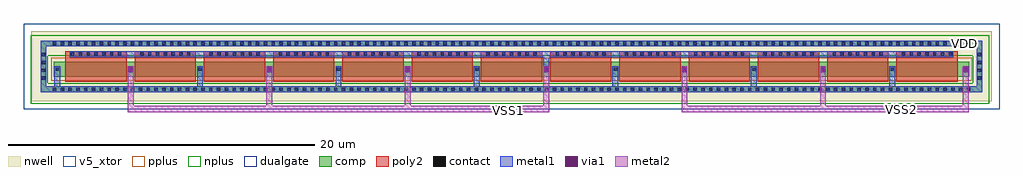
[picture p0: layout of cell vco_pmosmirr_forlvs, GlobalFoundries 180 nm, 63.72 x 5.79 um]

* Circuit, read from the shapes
.subckt vco_pmosmirr_forlvs VDD VSS1 VSS2
XM1 VSS1 VSS1 VDD VDD pfet_05v0 w=1u l=4u m=8
XM2 VSS2 VSS1 VDD VDD pfet_05v0 w=1u l=4u m=5
.ends

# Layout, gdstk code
from math import pi, radians
import gdstk
lib = gdstk.Library(unit=1e-6, precision=5e-09)
def R(c, l, rs):  # rectangles x0, y0, x1, y1
    for r in rs: c.add(gdstk.rectangle(r[:2], r[2:], *l))
def A(c, l, x, y, w, h, nx, ny, dx, dy):  # array of equal rectangles
    R(c, l, [(x+i*dx, y+j*dy, x+i*dx+w, y+j*dy+h) for i in range(nx) for j in range(ny)])
def P(c, l, *ps):  # polygons
    for p in ps: c.add(gdstk.Polygon(p, *l))
nwell = (21, 0)
comp = (22, 0)
poly2 = (30, 0)
pplus = (31, 0)
nplus = (32, 0)
contact = (33, 0)
metal1 = (34, 0)
via1 = (35, 0)
metal2 = (36, 0)
dualgate = (55, 0)
v5_xtor = (112, 1)

pfet = lib.new_cell('pfet')

pfet_2 = lib.new_cell('pfet$2')
R(pfet_2, nwell, [(-1.93,-1.6,60.79,2.98)])
R(pfet_2, comp, [(-0.46,0,0,1), (0,0,58.86,1), (58.86,0,59.32,1)])
P(pfet_2, comp, [(-1.32,-0.99),(-1.32,1.99),(-0.94,1.99),(-0.94,-0.61),(59.8,-0.61),(59.8,1.99),(-1.32,1.99),(-1.32,2.37),(60.18,2.37),(60.18,-0.99)])
A(pfet_2, poly2, 0.31, -0.3, 4, 1.6, 13, 1, 4.52, 0)
A(pfet_2, poly2, 0.31, 1.3, 4, 0.38, 13, 1, 4.52, 0)
R(pfet_2, pplus, [(-0.63,-0.24,59.49,1.24)])
A(pfet_2, contact, -0.515, -0.91, 0.22, 0.22, 118, 2, 0.51, 2.98)
A(pfet_2, contact, -1.24, -0.185, 0.22, 0.22, 1, 4, 0, 0.51)
A(pfet_2, contact, 59.88, -0.185, 0.22, 0.22, 1, 4, 0, 0.51)
A(pfet_2, contact, 4.46, 0.39, 0.22, 0.22, 12, 1, 4.52, 0)
A(pfet_2, contact, 0.67, 1.38, 0.22, 0.22, 7, 1, 0.51, 0)
A(pfet_2, contact, 5.19, 1.38, 0.22, 0.22, 7, 1, 0.51, 0)
A(pfet_2, contact, 9.71, 1.38, 0.22, 0.22, 7, 1, 0.51, 0)
A(pfet_2, contact, 14.23, 1.38, 0.22, 0.22, 7, 1, 0.51, 0)
A(pfet_2, contact, 18.75, 1.38, 0.22, 0.22, 7, 1, 0.51, 0)
A(pfet_2, contact, 23.27, 1.38, 0.22, 0.22, 7, 1, 0.51, 0)
A(pfet_2, contact, 27.79, 1.38, 0.22, 0.22, 7, 1, 0.51, 0)
A(pfet_2, contact, 32.31, 1.38, 0.22, 0.22, 7, 1, 0.51, 0)
A(pfet_2, contact, 36.83, 1.38, 0.22, 0.22, 7, 1, 0.51, 0)
A(pfet_2, contact, 41.35, 1.38, 0.22, 0.22, 7, 1, 0.51, 0)
A(pfet_2, contact, 45.87, 1.38, 0.22, 0.22, 7, 1, 0.51, 0)
A(pfet_2, contact, 50.39, 1.38, 0.22, 0.22, 7, 1, 0.51, 0)
A(pfet_2, contact, 54.91, 1.38, 0.22, 0.22, 7, 1, 0.51, 0)
R(pfet_2, contact, [(-0.34,0.39,-0.12,0.61), (58.98,0.39,59.2,0.61)])
A(pfet_2, metal1, 4.38, 0.31, 0.38, 0.38, 12, 1, 4.52, 0)
A(pfet_2, metal1, 0.59, 1.3, 3.44, 0.38, 13, 1, 4.52, 0)
R(pfet_2, metal1, [(-0.42,0.31,-0.04,0.69), (58.9,0.31,59.28,0.69)])
R(pfet_2, dualgate, [(-2.43,-2.1,61.29,3.48), (-1.57,-1.24,60.43,2.62)])
R(pfet_2, v5_xtor, [(-2.43,-2.1,61.29,3.48), (-1.57,-1.24,60.43,2.62)])

vco_pmosmirr_forlvs = lib.new_cell('vco_pmosmirr_forlvs')
R(vco_pmosmirr_forlvs, nplus, [(-5.39,-2.15,57.2,-0.795), (-5.39,-2.1,-4.29,2.335), (56.1,-2.1,57.2,2.335), (-5.39,0.98,57.2,2.335)])
A(vco_pmosmirr_forlvs, metal1, 5.465, -1.005, 0.38, 0.92, 6, 1, 9.04, 0)
R(vco_pmosmirr_forlvs, metal1, [(-4.755,-1.385,56.745,-1.005), (-4.755,-1.005,-4.375,1.595), (-3.855,-1.005,-3.475,-0.085), (56.365,-1.005,56.745,1.595), (28.065,0.295,28.445,0.905), (-2.845,0.905,54.835,1.285), (-4.755,1.595,56.745,1.975)])
A(vco_pmosmirr_forlvs, via1, 1.005, -0.025, 0.26, 0.26, 6, 1, 9.04, 0)
R(vco_pmosmirr_forlvs, via1, [(55.525,-0.025,55.785,0.235)])
A(vco_pmosmirr_forlvs, metal2, 0.945, -2.705, 0.38, 3, 6, 1, 9.04, 0)
R(vco_pmosmirr_forlvs, metal2, [(1.325,-2.705,28.445,-2.29), (37.105,-2.705,55.845,-2.29), (55.465,-2.705,55.845,0.295)])
vco_pmosmirr_forlvs.add(gdstk.Reference(pfet, (52.52,0.065), rotation=pi, x_reflection=True))
vco_pmosmirr_forlvs.add(gdstk.Reference(pfet, (55.445,0.13), rotation=pi, x_reflection=True))
vco_pmosmirr_forlvs.add(gdstk.Reference(pfet_2, (55.425,-0.395), rotation=pi, x_reflection=True))
vco_pmosmirr_forlvs.add(gdstk.Reference(pfet, (54.975,-2.405), rotation=pi, x_reflection=True))
vco_pmosmirr_forlvs.add(gdstk.Label('VDD', (55.57,1.77), layer=34, texttype=0))
vco_pmosmirr_forlvs.add(gdstk.Label('VSS1', (25.78,-2.575), layer=36, texttype=0))
vco_pmosmirr_forlvs.add(gdstk.Label('VSS2', (51.45,-2.55), layer=36, texttype=0))

lib.write_gds('vco_pmosmirr_forlvs.gds')
